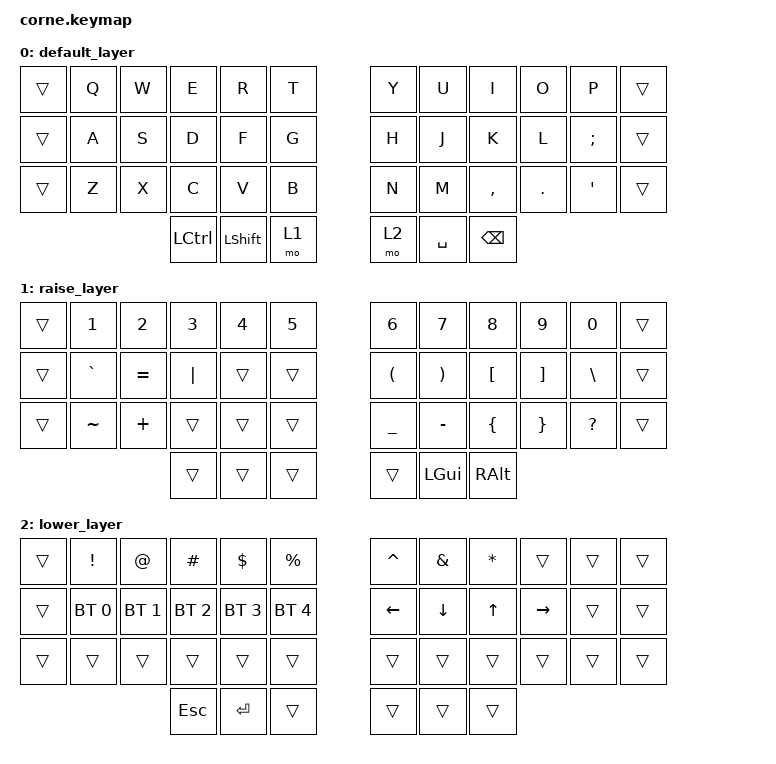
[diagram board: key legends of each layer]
/*
 * Copyright (c) 2020 The ZMK Contributors
 *
 * SPDX-License-Identifier: MIT
 */

#include <behaviors.dtsi>
#include <dt-bindings/zmk/keys.h>
#include <dt-bindings/zmk/bt.h>

/ {
        keymap {
                compatible = "zmk,keymap";

                default_layer {
// -----------------------------------------------------------------------------------------
// |      |  Q  |  W  |  E  |  R  |  T  |   |  Y  |  U   |  I  |  O  |  P  |      |
// |      |  A  |  S  |  D  |  F  |  G  |   |  H  |  J   |  K  |  L  |  ;  |      |
// |      |  Z  |  X  |  C  |  V  |  B  |   |  N  |  M   |  ,  |  .  |  '  |      |
//                    |LCTRL|LSHFT| LWE |   | RSE | SPCE |BSCP |
                        bindings = <
   &trans &kp Q &kp W &kp E &kp R &kp T   &kp Y &kp U  &kp I     &kp O   &kp P    &trans 
   &trans &kp A &kp S &kp D &kp F &kp G   &kp H &kp J  &kp K     &kp L   &kp SEMI &trans
   &trans &kp Z &kp X &kp C &kp V &kp B   &kp N &kp M  &kp COMMA &kp DOT &kp SQT  &trans
                &kp LCTRL &kp LSHFT &mo 1       &mo 2 &kp SPACE &kp BSPC
                        >;
                };

                raise_layer {
// -----------------------------------------------------------------------------------------
// |     |  1  |  2  |  3  |  4  |  5  |   |  6  |  7  |  8  |  9  |  0  |     |
// |     |  `  |  =  | "|" |     |     |   |  (  |  )  |  [  |  ]  |  \  |     |
// |     |  ~  |  +  |     |     |     |   |  _  |  -  |  {  |  }  |  ?  |     |
//                   |     |     |     |   |     | GUI | ALT |
                        bindings = <
   &trans    &kp N1       &kp N2       &kp N3       &kp N4       &kp N5         &kp N6   &kp N7   &kp N8 &kp N9    &kp N0 &trans
   &trans &kp GRAVE &kp EQUAL &kp PIPE &trans   &trans     &kp LPAR &kp RPAR &kp LBKT  &kp RBKT &kp BSLH &trans
   &trans &kp TILDE &kp PLUS &trans   &trans   &trans      &kp UNDER &kp MINUS &kp LBRC  &kp RBRC &kp QMARK &trans
                             &trans &trans   &trans &trans &kp LGUI &kp RALT
                        >;
                };

                lower_layer {
// -----------------------------------------------------------------------------------------
// |     |  !  |  @  |  #  |  $  |  %  |   |  ^  |  &  |  *  |     |     |     |
// |     | BT1 | BT2 | BT3 | BT4 | BT5 |   | LFT | DWN |  UP | RGT |     |     |
// |     |     |     |     |     |     |   |     |     |     |     |     |     |
//                   | ESC | RET |     |   |     |     |     |
                        bindings = <
   &trans &kp EXCL &kp AT &kp HASH &kp DLLR &kp PRCNT    &kp CARET &kp AMPS  &kp ASTRK &trans &trans &trans
   &trans    &bt BT_SEL 0 &bt BT_SEL 1 &bt BT_SEL 2 &bt BT_SEL 3 &bt BT_SEL 4   &kp LEFT &kp DOWN &kp UP &kp RIGHT &trans &trans
   &trans    &trans       &trans       &trans       &trans       &trans         &trans   &trans   &trans &trans    &trans &trans
                                       &kp ESC &kp RET &trans         &trans &trans &trans
                        >;
                };
        };
};
